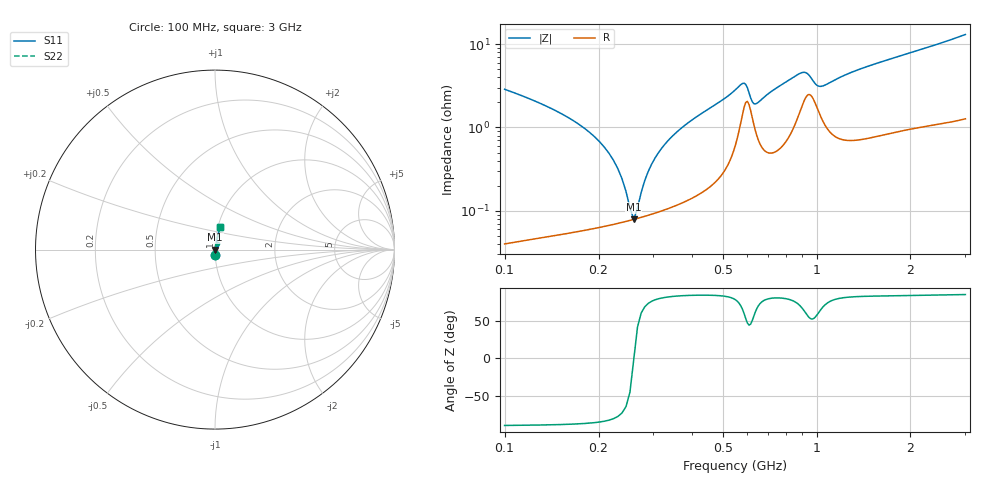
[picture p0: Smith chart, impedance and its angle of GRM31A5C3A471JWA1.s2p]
!Murata Part Number: GRM31A5C3A471JWA1
!These Parameters are Measured in Series Mode Connection
!Data Generated on Mar 30, 2021
!  o--ll--o
!Port1  Port2
!  o------o
!Operation Temp=25[degC], DC Bias Voltage=0[V]
!Freq. Start=100[MHz] Stop=3[GHz] 401[Steps]
# Hz S RI R 50
!Freq.(Hz) S11(Real) S11(Imag) S21(Real) S21(Imag) S12(Real) S12(Imag) S22(Real) S22(Imag)
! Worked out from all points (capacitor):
!   401 points, 100 MHz to 3 GHz, reference 50 ohm
!   read as one part in series: C = 471 pF near 114.5 MHz
!   lowest |Z| = 78.6 mohm at 259.5 MHz (marker M1)
!   series resonance near 259.6 MHz, so ESL is about 800 pH
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1e8  0.00122 -0.0287  0.9988 0.0287  0.9988 0.0287  0.00122 -0.0287
1.58e8  0.000713 -0.0135  0.9993 0.0135  0.9993 0.0135  0.000713 -0.0135
2.015e8  0.000674 -0.00671  0.9993 0.00671  0.9993 0.00671  0.000674 -0.00671
2.2325e8  0.000699 -0.00398  0.9993 0.00398  0.9993 0.00398  0.000699 -0.00398
2.5225e8  0.000764 -0.000761  0.9992 0.000761  0.9992 0.000761  0.000764 -0.000761
2.595e8  0.000785 -1.37e-05  0.9992 1.37e-05  0.9992 1.37e-05  0.000785 -1.37e-05
2.74e8  0.000833 0.00143  0.9992 -0.00143  0.9992 -0.00143  0.000833 0.00143
2.885e8  0.000887 0.00281  0.9991 -0.00281  0.9991 -0.00281  0.000887 0.00281
3.03e8  0.000949 0.00413  0.9991 -0.00413  0.9991 -0.00413  0.000949 0.00413
3.2475e8  0.00105 0.00605  0.9989 -0.00605  0.9989 -0.00605  0.00105 0.00605
3.5375e8  0.00122 0.0085  0.9988 -0.0085  0.9988 -0.0085  0.00122 0.0085
4.335e8  0.00192 0.0151  0.9981 -0.0151  0.9981 -0.0151  0.00192 0.0151
5.8575e8  0.018 0.0282  0.982 -0.0282  0.982 -0.0282  0.018 0.0282
6.365e8  0.00936 0.0165  0.9906 -0.0165  0.9906 -0.0165  0.00936 0.0165
8.9025e8  0.0179 0.0406  0.9821 -0.0406  0.9821 -0.0406  0.0179 0.0406
9.3375e8  0.025 0.0355  0.975 -0.0355  0.975 -0.0355  0.025 0.0355
1.0135e9  0.0162 0.0264  0.9838 -0.0264  0.9838 -0.0264  0.0162 0.0264
1.0715e9  0.0111 0.0304  0.9889 -0.0304  0.9889 -0.0304  0.0111 0.0304
1.55e9  0.011 0.057  0.989 -0.057  0.989 -0.057  0.011 0.057
2.03575e9  0.0158 0.0781  0.9842 -0.0781  0.9842 -0.0781  0.0158 0.0781
2.5215e9  0.0213 0.1003  0.9787 -0.1003  0.9787 -0.1003  0.0213 0.1003
3e9  0.0287 0.1251  0.9713 -0.1251  0.9713 -0.1251  0.0287 0.1251
